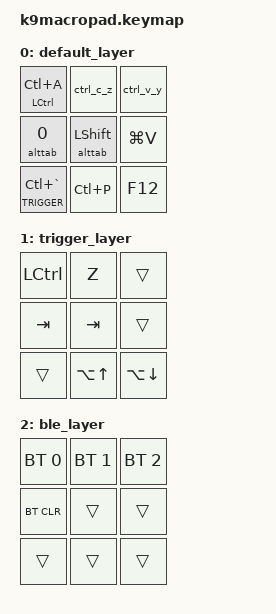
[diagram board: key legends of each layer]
/*
 * Copyright (c) 2020 The ZMK Contributors
 *
 * SPDX-License-Identifier: MIT
 */
 #include <behaviors.dtsi>
#include <dt-bindings/zmk/keys.h>
#include <dt-bindings/zmk/bt.h>

#define DEFAULT 0
#define TRIGGER 1
#define BLE_LAYER 2

/ {

    behaviors {
        ctrl_c_z: ctrl_c_ctrl_z {
            compatible = "zmk,behavior-mod-morph";
            #binding-cells = <0>;
            bindings = <&kp LC(C)>, <&kp Z>;
            mods = <(MOD_LCTL)>;
            keep-mods = <(MOD_LCTL)>;
        };
        ctrl_v_y: ctrl_v_ctrl_y {
            compatible = "zmk,behavior-mod-morph";
            #binding-cells = <0>;
            bindings = <&kp LC(V)>, <&kp Y>;
            mods = <(MOD_LCTL)>;
            keep-mods = <(MOD_LCTL)>;
        };
        cmd_c_z: cmd_c_cmd_z {
            compatible = "zmk,behavior-mod-morph";
            #binding-cells = <0>;
            bindings = <&kp LG(C)>, <&kp Z>;
            mods = <(MOD_LGUI)>;
            keep-mods = <(MOD_LGUI)>;
        };
        cmd_v_y: ctrl_v_cmd_y {
            compatible = "zmk,behavior-mod-morph";
            #binding-cells = <0>;
            bindings = <&kp LG(V)>, <&kp Y>;
            mods = <(MOD_LGUI)>;
            keep-mods = <(MOD_LGUI)>;
        };
    };
	macros {
		alttab: alt_tab {
			compatible = "zmk,behavior-macro-one-param";
			wait-ms = <0>;
			tap-ms = <0>;
			#binding-cells = <1>;
			bindings
				= <&macro_press &mo TRIGGER &kp LALT>
				, <&macro_param_1to1>
				, <&macro_press &kp MACRO_PLACEHOLDER>
				, <&macro_tap &kp TAB>
				, <&macro_pause_for_release>
				, <&macro_param_1to1>
				, <&macro_release &kp MACRO_PLACEHOLDER>
				, <&macro_release &mo TRIGGER &kp LALT>
				;
		};
		cmdtab: cmd_tab {
			compatible = "zmk,behavior-macro-one-param";
			wait-ms = <0>;
			tap-ms = <0>;
			#binding-cells = <1>;
			bindings
				= <&macro_press &mo TRIGGER &kp LGUI>
				, <&macro_param_1to1>
				, <&macro_press &kp MACRO_PLACEHOLDER>
				, <&macro_tap &kp TAB>
				, <&macro_pause_for_release>
				, <&macro_param_1to1>
				, <&macro_release &kp MACRO_PLACEHOLDER>
				, <&macro_release &mo TRIGGER &kp LGUI>
				;
		};
	};
	combos {
		compatible = "zmk,combos";
		combo_esc_1 {
			timeout-ms = <50>;
			key-positions = <0 1 2>;
			bindings = <&kp ESC>;
		};
		combo_esc_2 {
			timeout-ms = <50>;
			key-positions = <2 5 8>;
			bindings = <&kp ESC>;
        };
		combo_toggle_mac {
			timeout-ms = <50>;
			key-positions = <7 8>;
            layers = <DEFAULT>;
			bindings = <&to 1>;
		};
		combo_toggle_win {
			timeout-ms = <50>;
			key-positions = <7 8>;
            layers = <TRIGGER>;
			bindings = <&to 0>;
		};
		combo_ctrl_insert {
			timeout-ms = <50>;
			key-positions = <3 4>;
            layers = <DEFAULT>;
			bindings = <&kp LC(INSERT)>;
		};
		combo_ctrl_s {
			timeout-ms = <50>;
			key-positions = <0 1>;
            layers = <DEFAULT>;
			bindings = <&kp LC(S)>;
		};

		combo_cmd_insert {
			timeout-ms = <50>;
			key-positions = <3 4>;
            layers = <TRIGGER>;
			bindings = <&kp LG(INSERT)>;
		};
		combo_cmd_s {
			timeout-ms = <50>;
			key-positions = <0 1>;
            layers = <TRIGGER>;
			bindings = <&kp LG(S)>;
		};
		combo_ble_layer {
			timeout-ms = <50>;
			key-positions = <6 7 8>;
            layers = <DEFAULT>;
			bindings = <&mo BLE_LAYER>;
		};
	};
    keymap {
        compatible = "zmk,keymap";
        default_layer {
            bindings = <
				&mt LCTRL LC(A) &ctrl_c_z &ctrl_v_y
				&alttab 0 &alttab LSHIFT &kp LG(V)
				&lt TRIGGER LC(GRAVE) &kp LC(P) &kp F12
            >;
        };
        trigger_layer {
            bindings = <
				&kp LCTRL &kp Z &trans 
				&kp TAB &kp TAB &trans
				&trans &kp LA(UP) &kp LA(DOWN)
            >;
        };
        ble_layer {
            bindings = <
				&bt BT_SEL 0 &bt BT_SEL 1 &bt BT_SEL 2
				&bt BT_CLR &trans &trans
				&trans &trans &trans
            >;
        };
    };
};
